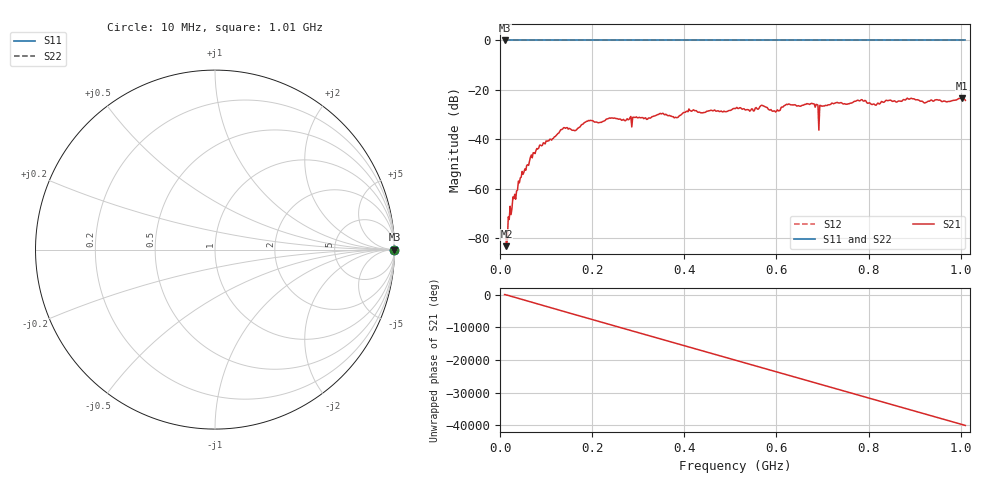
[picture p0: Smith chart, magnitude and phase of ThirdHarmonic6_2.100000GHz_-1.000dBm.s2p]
! 8/17/2025 1:07:41 AM
! C:\ANRITSUVNA\TEMP\TEMP.S2P
! CHANNEL.1
! TR.MEASUREMENT
! RAW.DATA
! RF.CORRECTION.OFF
! AVERAGING.OFF
! IF.BANDWIDTH: 5KHZ
! SWEEPTYPE:  FREQ.SWEEP(Linear)
! Reference Plane Port Info
! PORT:  PORT1  PORT2
! DISTANCE:  0  m  0  m
! TIME:  0  s  0  s
! PHASE.OFFSET:  0  deg.  0  deg.
! LOSS:  0  dB  0  dB
! REF.LOSS:  0  dB  0  dB
! REF.FREQ:  0  Hz  0  Hz
! Power Info
! POWER:  -20  dBm  -20  dBm
! EFF.POWER:  -20  dBm  -20  dBm
! SOURCE.ATTEN:  0  dB  0  dB
! TEST.ATTEN:  0  dB  0  dB
# GHZ S RI R 50.0
! FREQ.GHZ  S11RE  S11IM  S21RE  S21IM  S12RE  S12IM  S22RE  S22IM
!; PortSelection: Port_12
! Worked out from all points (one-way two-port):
!   501 points, 10 MHz to 1.01 GHz, reference 50 ohm
!   highest |S21| = -23.31 dB at 1.002 GHz (marker M1); lowest = -83.1 dB at 14 MHz (marker M2)
!   lowest |S11| = 0.0 dB at 10 MHz (marker M3)
!   |S11| at or under -10 dB: nowhere
!   |S22| runs from 0.0 to 0.0 dB; largest |S21 - S12| = 1.1
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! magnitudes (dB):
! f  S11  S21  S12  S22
! 10 MHz  0.0  -78.2  0.0  0.0
! 14 MHz  0.0  -83.1  0.0  0.0
! 26 MHz  0.0  -67.8  0.0  0.0
! 44 MHz  0.0  -55.6  0.0  0.0
! 70 MHz  0.0  -47.4  0.0  0.0
! 136 MHz  0.0  -35.8  0.0  0.0
! 162 MHz  0.0  -36.5  0.0  0.0
! 178 MHz  0.0  -33.9  0.0  0.0
! 344 MHz  0.0  -29.9  0.0  0.0
! 382 MHz  0.0  -31.1  0.0  0.0
! 408 MHz  0.0  -28.8  0.0  0.0
! 510 MHz  0.0  -27.6  0.0  0.0
! 570 MHz  0.0  -26.3  0.0  0.0
! 596 MHz  0.0  -28.4  0.0  0.0
! 624 MHz  0.0  -25.9  0.0  0.0
! 678 MHz  0.0  -25.5  0.0  0.0
! 696 MHz  0.0  -26.3  0.0  0.0
! 698 MHz  0.0  -26.5  0.0  0.0
! 730 MHz  0.0  -25.1  0.0  0.0
! 844 MHz  0.0  -24.2  0.0  0.0
! 1.002 GHz  0.0  -23.3  0.0  0.0
! 1.01 GHz  0.0  -24.2  0.0  0.0
